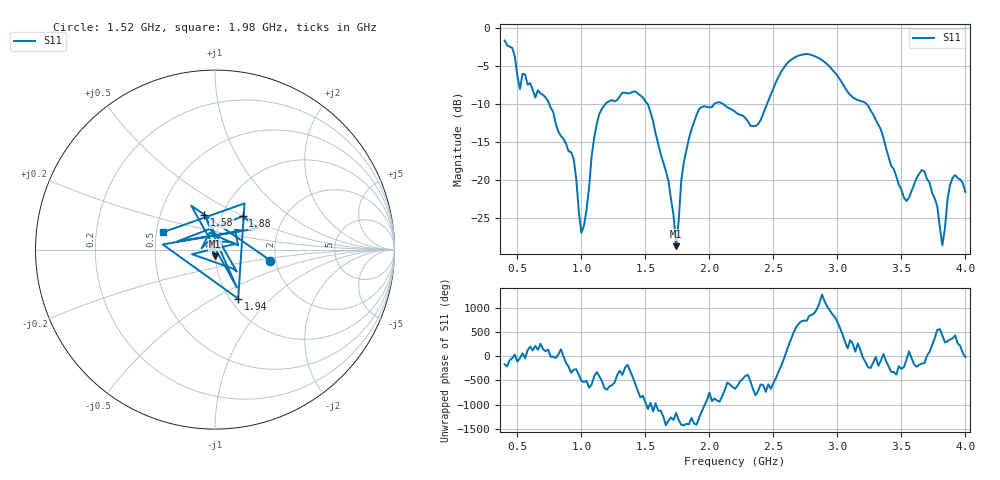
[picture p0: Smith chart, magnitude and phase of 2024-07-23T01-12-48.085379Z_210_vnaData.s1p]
!Created with skrf (http://scikit-rf.org).
# Hz S RI R 50.0
!freq ReS11 ImS11
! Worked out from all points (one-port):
!   181 points, 400 MHz to 4 GHz, reference 50 ohm
!   lowest |S11| = -28.7 dB at 1.74 GHz (marker M1), VSWR 1.08, Z = 49.8 - j3.67 ohm
!   |S11| at or under -10 dB: 748.7 MHz to 1.188 GHz (439.7 MHz wide, 45.4 % of centre); 1.518 GHz to 2.038 GHz (519.6 MHz wide, 29.2 % of centre); 3.228 GHz to end of sweep (the widest 3 of 4)
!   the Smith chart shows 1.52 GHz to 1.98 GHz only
!   S11 on the Smith chart (normalised r, x): 1.52 GHz: 1.87, -0.25; 1.58 GHz: 0.83, +0.33; 1.88 GHz: 1.26, +0.49; 1.94 GHz: 1.09, -0.66; 1.98 GHz: 0.55, +0.12
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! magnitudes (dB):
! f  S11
! 400 MHz  -1.7
! 520 MHz  -8.0
! 720 MHz  -9.1
! 860 MHz  -14.6
! 940 MHz  -17.3
! 1 GHz  -26.9
! 1.14 GHz  -11.3
! 1.3 GHz  -9.0
! 1.52 GHz  -10.0
! 1.58 GHz  -13.9
! 1.68 GHz  -20.1
! 1.74 GHz  -28.7
! 1.76 GHz  -25.4
! 1.8 GHz  -17.6
! 1.88 GHz  -12.4
! 1.94 GHz  -10.4
! 1.98 GHz  -10.4
! 2.2 GHz  -11.0
! 2.38 GHz  -12.6
! 2.66 GHz  -3.9
! 3.1 GHz  -8.8
! 3.28 GHz  -11.4
! 3.56 GHz  -22.3
! 3.68 GHz  -18.9
! 3.78 GHz  -23.4
! 3.82 GHz  -28.6
! 3.9 GHz  -19.7
! 4 GHz  -21.5
